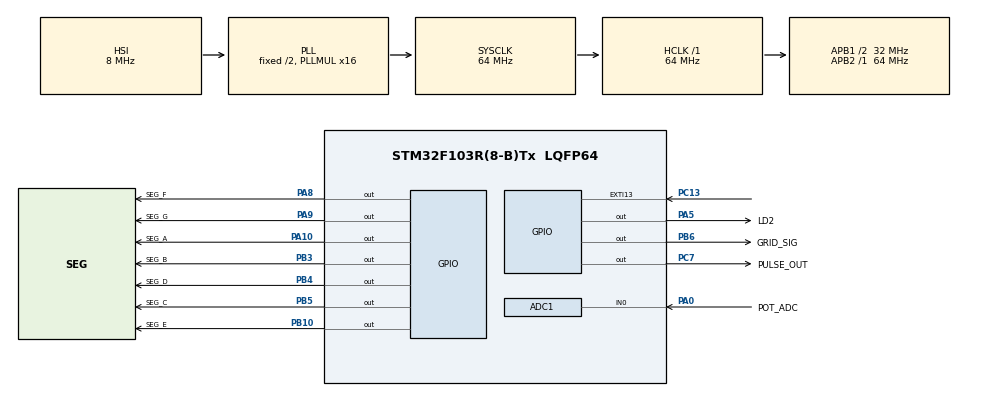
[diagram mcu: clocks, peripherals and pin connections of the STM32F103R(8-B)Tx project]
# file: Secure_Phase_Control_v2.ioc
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ADC1.Channel-0\#ChannelRegularConversion=ADC_CHANNEL_0
ADC1.ContinuousConvMode=ENABLE
ADC1.NbrOfConversionFlag=1
ADC1.Rank-0\#ChannelRegularConversion=1
ADC1.SamplingTime-0\#ChannelRegularConversion=ADC_SAMPLETIME_1CYCLE_5
ADC1.master=1
Mcu.Family=STM32F1
Mcu.Name=STM32F103R(8-B)Tx
Mcu.Package=LQFP64
NVIC.EXTI15_10_IRQn=true\:0\:0\:false\:false\:true\:true\:true\:true
NVIC.PriorityGroup=NVIC_PRIORITYGROUP_4
PA0-WKUP.GPIO_Label=POT_ADC
PA0-WKUP.Signal=ADCx_IN0
PA10.GPIO_Label=SEG_A
PA10.Signal=GPIO_Output
PA13.Mode=Serial_Wire
PA13.Signal=SYS_JTMS-SWDIO
PA14.Mode=Serial_Wire
PA14.Signal=SYS_JTCK-SWCLK
PA5.GPIO_Label=LD2
PA5.Signal=GPIO_Output
PA8.GPIO_Label=SEG_F
PA8.Signal=GPIO_Output
PA9.GPIO_Label=SEG_G
PA9.Signal=GPIO_Output
PB10.GPIO_Label=SEG_E
PB10.Signal=GPIO_Output
PB3.GPIO_Label=SEG_B
PB3.Signal=GPIO_Output
PB4.GPIO_Label=SEG_D
PB4.Signal=GPIO_Output
PB5.GPIO_Label=SEG_C
PB5.Signal=GPIO_Output
PB6.GPIO_Label=GRID_SIG
PB6.Signal=GPIO_Output
PC13-TAMPER-RTC.Signal=GPXTI13
PC7.GPIO_Label=PULSE_OUT
PC7.Signal=GPIO_Output
ProjectManager.HeapSize=0x200
ProjectManager.StackSize=0x400
ProjectManager.TargetToolchain=STM32CubeIDE
RCC.ADCPresc=RCC_ADCPCLK2_DIV6
RCC.AHBFreq_Value=64000000
RCC.APB1CLKDivider=RCC_HCLK_DIV2
RCC.APB1Freq_Value=32000000
RCC.APB1TimFreq_Value=64000000
RCC.APB2Freq_Value=64000000
RCC.APB2TimFreq_Value=64000000
RCC.HCLKFreq_Value=64000000
RCC.PLLMUL=RCC_PLL_MUL16
RCC.SYSCLKFreq_VALUE=64000000
RCC.SYSCLKSource=RCC_SYSCLKSOURCE_PLLCLK
RCC.USBFreq_Value=64000000
SH.ADCx_IN0.0=ADC1_IN0,IN0
board=custom

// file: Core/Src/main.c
/* USER CODE BEGIN Header */
/**
  ******************************************************************************
  * @file           : main.c
  * @brief          : Main program body
  ******************************************************************************
  * @attention
  *
  * Copyright (c) 2026 STMicroelectronics.
  * All rights reserved.
  *
  * This software is licensed under terms that can be found in the LICENSE file
  * in the root directory of this software component.
  * If no LICENSE file comes with this software, it is provided AS-IS.
  *
  ******************************************************************************
  */
/* USER CODE END Header */
#include "main.h"
#include "adc.h"
#include "gpio.h"

/* USER CODE BEGIN PV */

uint8_t system_armed = 0;       // 0: Kilitli (L), 1: Aktif (0-9)
uint32_t last_button_press = 0; // Buton arkını (debounce) önlemek için
uint32_t adc_val = 0;           // Potansiyometre değeri

/* USER CODE END PV */

void SystemClock_Config(void);

/* USER CODE BEGIN 0 */

void displayDigit(uint8_t digit) {
    // Önce tüm segmentleri söndür (Temizlik)
    HAL_GPIO_WritePin(GPIOA, SEG_A_Pin|SEG_F_Pin|SEG_G_Pin, GPIO_PIN_RESET);
    HAL_GPIO_WritePin(GPIOB, SEG_B_Pin|SEG_C_Pin|SEG_D_Pin|SEG_E_Pin, GPIO_PIN_RESET);

    if (digit == 10) { // "L" Harfi (Locked)
        HAL_GPIO_WritePin(GPIOA, SEG_F_Pin, GPIO_PIN_SET);
        HAL_GPIO_WritePin(GPIOB, SEG_E_Pin|SEG_D_Pin, GPIO_PIN_SET);
        return;
    }

    switch(digit) {
        case 0: HAL_GPIO_WritePin(GPIOA, SEG_A_Pin|SEG_F_Pin, GPIO_PIN_SET);
                HAL_GPIO_WritePin(GPIOB, SEG_B_Pin|SEG_C_Pin|SEG_D_Pin|SEG_E_Pin, GPIO_PIN_SET); break;
        case 1: HAL_GPIO_WritePin(GPIOB, SEG_B_Pin|SEG_C_Pin, GPIO_PIN_SET); break;
        case 2: HAL_GPIO_WritePin(GPIOA, SEG_A_Pin|SEG_G_Pin, GPIO_PIN_SET);
                HAL_GPIO_WritePin(GPIOB, SEG_B_Pin|SEG_D_Pin|SEG_E_Pin, GPIO_PIN_SET); break;
        case 3: HAL_GPIO_WritePin(GPIOA, SEG_A_Pin|SEG_G_Pin, GPIO_PIN_SET);
                HAL_GPIO_WritePin(GPIOB, SEG_B_Pin|SEG_C_Pin|SEG_D_Pin, GPIO_PIN_SET); break;
        case 4: HAL_GPIO_WritePin(GPIOA, SEG_F_Pin|SEG_G_Pin, GPIO_PIN_SET);
                HAL_GPIO_WritePin(GPIOB, SEG_B_Pin|SEG_C_Pin, GPIO_PIN_SET); break;
        case 5: HAL_GPIO_WritePin(GPIOA, SEG_A_Pin|SEG_F_Pin|SEG_G_Pin, GPIO_PIN_SET);
                HAL_GPIO_WritePin(GPIOB, SEG_C_Pin|SEG_D_Pin, GPIO_PIN_SET); break;
        case 6: HAL_GPIO_WritePin(GPIOA, SEG_A_Pin|SEG_F_Pin|SEG_G_Pin, GPIO_PIN_SET);
                HAL_GPIO_WritePin(GPIOB, SEG_C_Pin|SEG_D_Pin|SEG_E_Pin, GPIO_PIN_SET); break;
        case 7: HAL_GPIO_WritePin(GPIOA, SEG_A_Pin, GPIO_PIN_SET);
                HAL_GPIO_WritePin(GPIOB, SEG_B_Pin|SEG_C_Pin, GPIO_PIN_SET); break;
        case 8: HAL_GPIO_WritePin(GPIOA, SEG_A_Pin|SEG_F_Pin|SEG_G_Pin, GPIO_PIN_SET);
                HAL_GPIO_WritePin(GPIOB, SEG_B_Pin|SEG_C_Pin|SEG_D_Pin|SEG_E_Pin, GPIO_PIN_SET); break;
        case 9: HAL_GPIO_WritePin(GPIOA, SEG_A_Pin|SEG_F_Pin|SEG_G_Pin, GPIO_PIN_SET);
                HAL_GPIO_WritePin(GPIOB, SEG_B_Pin|SEG_C_Pin|SEG_D_Pin, GPIO_PIN_SET); break;
    }
}

/* USER CODE END 0 */

int main(void)
{

  /* MCU Configuration--------------------------------------------------------*/

  /* Reset of all peripherals, Initializes the Flash interface and the Systick. */
  HAL_Init();

  /* Configure the system clock */
  SystemClock_Config();

  /* Initialize all configured peripherals */
  MX_GPIO_Init();
  MX_ADC1_Init();
  /* USER CODE BEGIN 2 */

  HAL_ADC_Start(&hadc1); // ADC sürekli okuma modunda başlasın
  displayDigit(10);      // Başlangıçta "L" göster

  /* USER CODE END 2 */

  /* Infinite loop */
  while (1)
  {

    /* USER CODE BEGIN 3 */

	  // --- 1. BUTON VE EMNİYET KONTROLÜ ---
	    // Mavi butona basıldığında (Pull-up olduğu için RESET durumunda basılmış sayılır)
	    if(HAL_GPIO_ReadPin(GPIOC, GPIO_PIN_13) == GPIO_PIN_RESET)
	    {
	        if(HAL_GetTick() - last_button_press > 250)
	        { // 250ms Debounce
	            system_armed = !system_armed; // Durumu tersine çevir
	            last_button_press = HAL_GetTick();
	            HAL_GPIO_TogglePin(LD2_GPIO_Port, LD2_Pin); // Durum değiştiğini kart üzerindeki LED'den de gör
	        }
	    }

	    // --- 2. ÇALIŞMA MANTIĞI ---
	    if(!system_armed)
	    {
	        displayDigit(10); // Sistem kilitli: "L" göster
	        HAL_GPIO_WritePin(GRID_SIG_GPIO_Port, GRID_SIG_Pin, GPIO_PIN_RESET);
	        HAL_GPIO_WritePin(PULSE_OUT_GPIO_Port, PULSE_OUT_Pin, GPIO_PIN_RESET);
	    }
	    else
	    {
	        // Potansiyometre değerini al (10uF kondansatör sayesinde artık daha stabil!)
	        HAL_ADC_PollForConversion(&hadc1, 10);
	        adc_val = HAL_ADC_GetValue(&hadc1);

	        // Display'de 0-9 arası rakamı göster
	        displayDigit(adc_val / 410);

	        // Tetikleme Gecikmesini Hesapla (0 - 10ms arası)
	        uint32_t delay_ms = (adc_val * 10) / 4095;

	        // SANAL ŞEBEKE VE TETİKLEME (Lojik Analizörde İzle)
	        HAL_GPIO_WritePin(GRID_SIG_GPIO_Port, GRID_SIG_Pin, GPIO_PIN_SET); // Pozitif Alternans Başladı
	        HAL_Delay(delay_ms); // Faz açısı gecikmesi

	        // Tristörü ve Mavi LED'i Tetikle
	        HAL_GPIO_WritePin(PULSE_OUT_GPIO_Port, PULSE_OUT_Pin, GPIO_PIN_SET);
	        HAL_Delay(1); // 1ms darbe genişliği
	        HAL_GPIO_WritePin(PULSE_OUT_GPIO_Port, PULSE_OUT_Pin, GPIO_PIN_RESET);

	        HAL_Delay(10 - delay_ms - 1); // 10ms'lik süreyi tamamla
	        HAL_GPIO_WritePin(GRID_SIG_GPIO_Port, GRID_SIG_Pin, GPIO_PIN_RESET); // Negatif Alternans Başladı
	        HAL_Delay(10); // Negatif alternansta tetikleme yapılmaz
	    }
  }
  /* USER CODE END 3 */
}

void SystemClock_Config(void)
{
  RCC_OscInitTypeDef RCC_OscInitStruct = {0};
  RCC_ClkInitTypeDef RCC_ClkInitStruct = {0};
  RCC_PeriphCLKInitTypeDef PeriphClkInit = {0};

  /** Initializes the RCC Oscillators according to the specified parameters
  * in the RCC_OscInitTypeDef structure.
  */
  RCC_OscInitStruct.OscillatorType = RCC_OSCILLATORTYPE_HSI;
  RCC_OscInitStruct.HSIState = RCC_HSI_ON;
  RCC_OscInitStruct.HSICalibrationValue = RCC_HSICALIBRATION_DEFAULT;
  RCC_OscInitStruct.PLL.PLLState = RCC_PLL_ON;
  RCC_OscInitStruct.PLL.PLLSource = RCC_PLLSOURCE_HSI_DIV2;
  RCC_OscInitStruct.PLL.PLLMUL = RCC_PLL_MUL16;
  if (HAL_RCC_OscConfig(&RCC_OscInitStruct) != HAL_OK)
  {
    Error_Handler();
  }

  /** Initializes the CPU, AHB and APB buses clocks
  */
  RCC_ClkInitStruct.ClockType = RCC_CLOCKTYPE_HCLK|RCC_CLOCKTYPE_SYSCLK
                              |RCC_CLOCKTYPE_PCLK1|RCC_CLOCKTYPE_PCLK2;
  RCC_ClkInitStruct.SYSCLKSource = RCC_SYSCLKSOURCE_PLLCLK;
  RCC_ClkInitStruct.AHBCLKDivider = RCC_SYSCLK_DIV1;
  RCC_ClkInitStruct.APB1CLKDivider = RCC_HCLK_DIV2;
  RCC_ClkInitStruct.APB2CLKDivider = RCC_HCLK_DIV1;

  if (HAL_RCC_ClockConfig(&RCC_ClkInitStruct, FLASH_LATENCY_2) != HAL_OK)
  {
    Error_Handler();
  }
  PeriphClkInit.PeriphClockSelection = RCC_PERIPHCLK_ADC;
  PeriphClkInit.AdcClockSelection = RCC_ADCPCLK2_DIV6;
  if (HAL_RCCEx_PeriphCLKConfig(&PeriphClkInit) != HAL_OK)
  {
    Error_Handler();
  }
}

void Error_Handler(void)
{
  __disable_irq();
  while (1)
  {
  }
}
